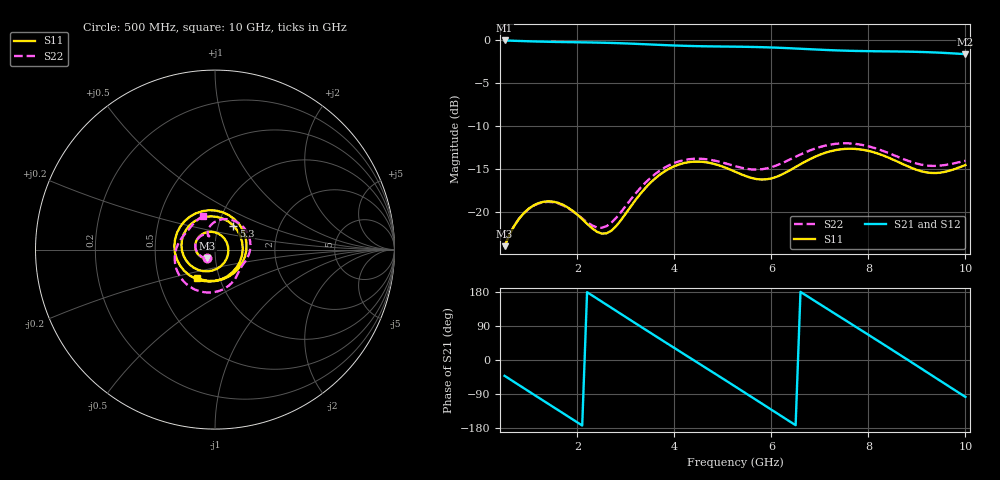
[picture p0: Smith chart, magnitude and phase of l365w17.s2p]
! Touchstone file exported from HFSS 3D Layout Design 2026.1.0
!  File:  D:/Work/ADS/HFSS_VERDICT/hfss_sma_connector_cpw.aedt
!  Generated:  02:44:25 PM Aug  6, 2026
!  Design:  SINGLE_END_SMA_CPW_30MM
!  Project:  hfss_sma_connector_cpw
! Variables:
!  $sma_Base_D = 6.25mm
!  $sma_Base_L = 8mm
!  $sma_Feet_L = 4mm
!  $sma_Feet_W = 1mm
!  $sma_Front_L = 1.5mm
!  $sma_Front_W = 6.5mm
!  $sma_Hole_D = 1.25mm
!  $sma_PTFE_D = 4.2mm
!  $sma_Pin_D = 0.95mm
!  $sma_Pin_P = 1.7mm
# GHz S MA R 50.000000
! Terminal data exported
! Port[1] = Port1
! Port[2] = S1_1_Pin_T1
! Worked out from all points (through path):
!   96 points, 500 MHz to 10 GHz, reference 50 ohm
!   highest |S21| = -0.10 dB at 500 MHz (marker M1); lowest = -1.7 dB at 10 GHz (marker M2)
!   group delay of S21, straight-line fit = 226 ps
!   lowest |S11| = -24.0 dB at 500 MHz (marker M3), VSWR 1.13, Z = 45.8 - j4.34 ohm
!   |S11| at or under -10 dB: start of sweep to end of sweep
!   |S22| runs from -24.0 to -12.0 dB; largest |S21 - S12| = 8e-14
!   S11 on the Smith chart (normalised r, x): 500 MHz: 0.92, -0.09; 5.3 GHz: 1.18, +0.33; 10 GHz: 0.78, -0.25
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0.5  0.06311 -131.6  0.988 -41.8  0.988 -41.8  0.06341 -134.0
0.9  0.0984 -165.0  0.9792 -74.7  0.9792 -74.7  0.09835 -167.8
1.3  0.1143 160.7  0.972 -107.4  0.972 -107.4  0.1136 161.1
1.7  0.1098 123.0  0.9671 -140.1  0.9671 -140.1  0.109 134.3
2.1  0.0906 77.3  0.9635 -172.9  0.9635 -172.9  0.09142 116.5
2.5  0.07466 14.4  0.9589 154.3  0.9589 154.3  0.08069 114.4
3  0.09781 -70.1  0.9495 113.2  0.9495 113.2  0.1083 112.3
3.3  0.1271 -108.0  0.9419 88.6  0.9419 88.6  0.1375 100.1
3.7  0.1641 -149.4  0.9311 56.0  0.9311 56.0  0.1733 76.7
4.1  0.1884 173.0  0.9218 23.6  0.9218 23.6  0.1964 50.6
4.5  0.1956 135.9  0.9153 -8.7  0.9153 -8.7  0.2033 24.6
5.3  0.1686 52.6  0.9089 -73.7  0.9089 -73.7  0.1826 -18.6
5.7  0.1547 1.8  0.9047 -106.5  0.9047 -106.5  0.1757 -33.2
6.2  0.1637 -65.4  0.895 -147.5  0.895 -147.5  0.1906 -50.6
6.9  0.2086 -145.8  0.8759 155.4  0.8759 155.4  0.2327 -85.8
7.3  0.2273 174.8  0.8661 123.1  0.8661 123.1  0.2475 -110.3
7.7  0.232 137.1  0.8593 90.8  0.8593 90.8  0.2484 -135.7
8.1  0.2219 98.7  0.8555 58.4  0.8555 58.4  0.2357 -160.4
8.5  0.2013 57.6  0.8531 25.9  0.8531 25.9  0.2145 177.2
9.2  0.1692 -25.5  0.845 -31.6  0.845 -31.6  0.1856 146.3
9.6  0.1711 -76.3  0.8354 -64.6  0.8354 -64.6  0.1871 130.0
10  0.1868 -123.1  0.8226 -97.5  0.8226 -97.5  0.1978 110.1
